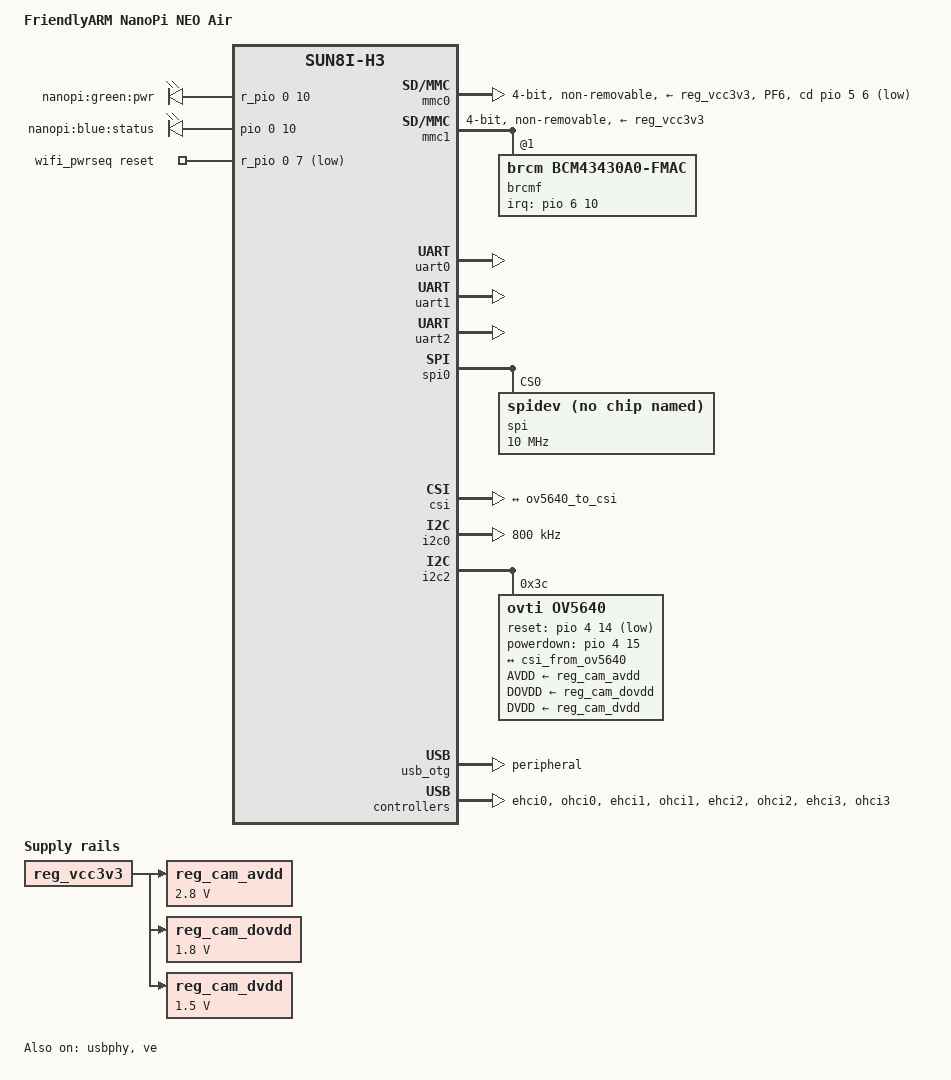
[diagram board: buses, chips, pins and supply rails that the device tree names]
/dts-v1/;
#include "sun8i-h3.dtsi"
#include "sunxi-common-regulators.dtsi"

#include <dt-bindings/gpio/gpio.h>

/ {
    model = "FriendlyARM NanoPi NEO Air";
    compatible = "friendlyarm,nanopi-neo-air", "allwinner,sun8i-h3";

    aliases {
        serial0 = &uart0;
        serial1 = &uart1;
        serial2 = &uart2;
        mmc0 = &mmc0; // If you are not asign mmc id, kernel won't modefine as correct
        mmc1 = &mmc1; // If you are not asign mmc id, kernel won't modefine as correct
        mmc2 = &mmc2; // If you are not asign mmc id, kernel won't modefine as correct
    };

    chosen {
        stdout-path = "serial0:115200n8";
    };

    leds {
        compatible = "gpio-leds";

        pwr {
            label = "nanopi:green:pwr";
            gpios = <&r_pio 0 10 GPIO_ACTIVE_HIGH>; /* PL10 */
            default-state = "on";
        };

        status {
            label = "nanopi:blue:status";
            gpios = <&pio 0 10 GPIO_ACTIVE_HIGH>; /* PA10 */
            default-state = "on";
        };
    };

    wifi_pwrseq: wifi_pwrseq {
        compatible = "mmc-pwrseq-simple";
        reset-gpios = <&r_pio 0 7 GPIO_ACTIVE_LOW>; /* PL7 */
        pinctrl-names = "default";
        pinctrl-0 = <&wifi_en_pin>;
        post-power-on-delay-ms = <5000>;
    };

    cam_xclk: cam-xclk {
                #clock-cells = <0>;
                compatible = "fixed-clock";
                clock-frequency = <24000000>;
                clock-output-names = "cam-xclk";
    };

    reg_cam_avdd: cam-avdd {
            compatible = "regulator-fixed";
            regulator-name = "cam-avdd";
            regulator-min-microvolt = <2800000>;
            regulator-max-microvolt = <2800000>;
            vin-supply = <&reg_vcc3v3>;
    };

    reg_cam_dovdd: cam-dovdd {
            compatible = "regulator-fixed";
            regulator-name = "cam-dovdd";
            regulator-min-microvolt = <1800000>;
            regulator-max-microvolt = <1800000>;
            vin-supply = <&reg_vcc3v3>;
    };

    reg_cam_dvdd: cam-dvdd {
            compatible = "regulator-fixed";
            regulator-name = "cam-dvdd";
            regulator-min-microvolt = <1500000>;
            regulator-max-microvolt = <1500000>;
            vin-supply = <&reg_vcc3v3>;
    };

	reserved-memory {
        #address-cells = <0x01>;
        #size-cells = <0x01>;
        ranges;
        cma_pool: cma@43c00000 {
        	compatible = "shared-dma-pool";
        	reusable;
            size = <0x06000000>; // 96MiB, just let cma driver auto done this job
        	linux,cma-default;
        	status = "okay";
        };
	};

	soc {
	    compatible = "simple-bus";
	    #address-cells = <0x01>;
	    #size-cells = <0x01>;
        
	    ve: video-engine@1c0e000 {
	    	compatible = "allwinner,sunxi-cedar-ve";
	    	reg = <0x01c0e000 0x1000>,
	    	          <0x01c00000 0x10>,
	    	          <0x01c20000 0x800>;
	    	memory-region = <&cma_pool>;
	    	syscon = <&syscon>;
	    	clocks = <&ccu 0x29>, <&ccu 0x6c>, //CLK_BUS_VE, CLK_VE
	    	         <&ccu 0x61>; //CLK_DRAM_VE
	    	clock-names = "ahb", "mod", "ram";
	    	resets = <&ccu 0x1a>; //RST_BUS_VE
	    	interrupts = <0x0 58 0x04>; //GIC_SPI, 58, IRQ_TYPE_LEVEL_HIGH
	    	allwinner,sram = <&ve_sram 1>;
	    	status = "okay";
	    };
	};
};

&ccu {
    // APB2 Configuration Register, see datasheet 0x0058
    apb2_reg = <0x02010002>; /* PLL6 div in 600/2/3 = 100MHZ for 460800 baudrate uart */
};

&syscon {
    compatible = "allwinner,sun8i-h3-system-control","syscon"; //add syscon module load
};


&r_pio {
    wifi_en_pin: wifi_en_pin {
        pins = "PL7";
        function = "gpio_out";
    };
};

&pio{
    mmc0_cd_pin: mmc0_cd_pin {
        pins = "PF6";
        function = "gpio_in";
        bias-pull-up;
    };
};

&mmc0 {
	vmmc-supply = <&reg_vcc3v3>;
	bus-width = <4>;
	cd-gpios = <&pio 5 6 GPIO_ACTIVE_LOW>; /* PF6 */
	boot_device = <0>;
	non-removable;
	pinctrl-names = "default";
	pinctrl-0 = <&mmc0_cd_pin &mmc0_pins>;
	status = "okay";
};

&mmc1 {
	vmmc-supply = <&reg_vcc3v3>;
	vqmmc-supply = <&reg_vcc3v3>;
	mmc-pwrseq = <&wifi_pwrseq>;
	bus-width = <4>;
	non-removable;
	status = "okay";

    brcmf: bcrmf@1 {
		reg = <1>;
		compatible = "brcm,bcm43430a0-fmac";
		interrupt-parent = <&pio>;
		interrupts = <6 10 IRQ_TYPE_LEVEL_LOW>; /* PG10 / EINT10 */
		interrupt-names = "host-wake";
    };
};

&uart0 {
	pinctrl-names = "default";
	pinctrl-0 = <&uart0_pa_pins>;
	status = "okay";
};

&uart1 {   
    pinctrl-names = "default";
    pinctrl-0 = <&uart1_pins>;
    status = "okay";

    // hkv-uart {
    //     compatible = "hkv,hkv-uart";
	// 	port {
    //     	ov5640_to_csi: endpoint {
    //         	remote-endpoint = <&csi_from_ov5640>;
    //     		bus-width = <8>;
    //     		data-shift = <2>;
    //     		hsync-active = <1>; 
    //     		vsync-active = <0>; 
    //     		data-active = <1>;  
    //     		pclk-sample = <1>;  
    //         };
    //    	};
   	// };
};

&uart2 {
    pinctrl-names = "default";
    pinctrl-0 = <&uart2_pins>;
	status = "okay";
};

&usbphy {
    /* USB VBUS is always on */
	status = "okay";
};

&spi0 {
	status = "okay";
    spi@0 {
		compatible = "linux,spidev";
		reg = <0x00>;
        spi-max-frequency = <10000000>;
		status = "okay";
    };
};

&csi {
    status = "okay";

    port {
        #address-cells = <1>;
        #size-cells = <0>;

        /* Parallel bus endpoint */
        csi_from_ov5640: endpoint {
            remote-endpoint = <&ov5640_to_csi>;
            bus-width = <8>;
            data-shift = <2>;
            hsync-active = <1>;
            vsync-active = <0>;
            data-active = <1>;
            pclk-sample = <1>;
        };
    };
};

&i2c0 {
    clock-frequency = <800000>;
	status = "okay";
};

&i2c0_pins {
	bias-pull-up;
};

&i2c2 {
	status = "okay";

    ov5640: camera@3c {
        compatible = "ovti,ov5640";
        reg = <0x3c>;
        clocks = <&cam_xclk>;
        clock-names = "xclk";

        reset-gpios = <&pio 4 14 GPIO_ACTIVE_LOW>;
        powerdown-gpios = <&pio 4 15 GPIO_ACTIVE_HIGH>;
        AVDD-supply = <&reg_cam_avdd>;
        DOVDD-supply = <&reg_cam_dovdd>;
        DVDD-supply = <&reg_cam_dvdd>;

        port {
            ov5640_to_csi: endpoint {
                remote-endpoint = <&csi_from_ov5640>;
                bus-width = <8>;
                data-shift = <2>;
                hsync-active = <1>; 
                vsync-active = <0>; 
                data-active = <1>;  
                pclk-sample = <1>;  
            };
        };
    };
};

&i2c2_pins {
	bias-pull-up;
};

&usb_otg {
    dr_mode = "peripheral";
    status = "okay";
};

&ehci0 {
    status = "okay";
};

&ohci0 {
    status = "okay";
};

&ehci1 {
    status = "okay";
};

&ohci1 {
    status = "okay";
};

&ehci2 {
    status = "okay";
};

&ohci2 {
    status = "okay";
};

&ehci3 {
    status = "okay";
};

&ohci3 {
    status = "okay";
};
